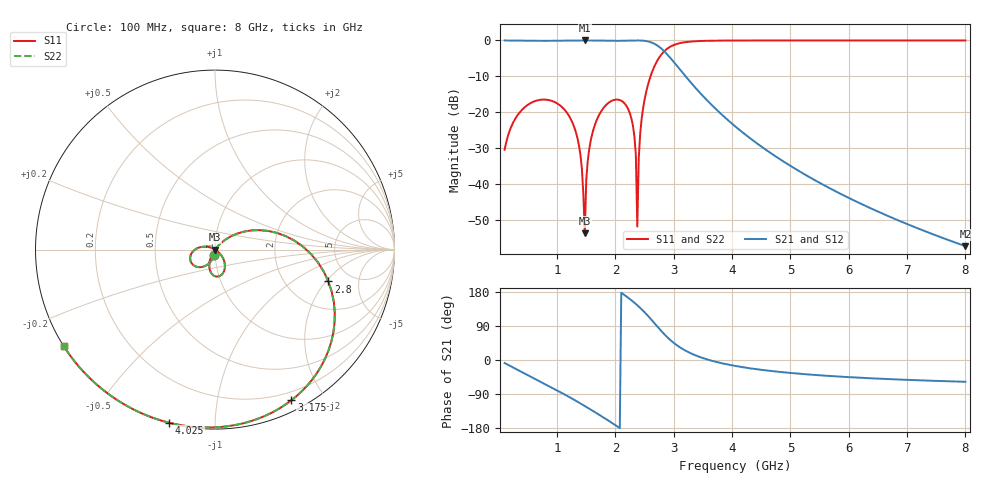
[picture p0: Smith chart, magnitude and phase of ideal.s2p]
! Created with skrf 1.13.0 (http://scikit-rf.org).
# Hz S RI R 50.0
!freq ReS11 ImS11 ReS21 ImS21 ReS12 ImS12 ReS22 ImS22
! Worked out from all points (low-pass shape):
!   317 points, 100 MHz to 8 GHz, reference 50 ohm
!   highest |S21| = 0.00 dB at 1.475 GHz (marker M1); lowest = -57.2 dB at 8 GHz (marker M2)
!   |S21| within 3 dB of the highest: start of sweep to 2.836 GHz
!   lowest |S11| = -53.6 dB at 1.475 GHz (marker M3), VSWR 1.00, Z = 50.2 - j0.109 ohm
!   |S11| at or under -10 dB: start of sweep to 2.601 GHz
!   |S22| runs from -53.6 to 0.0 dB; largest |S21 - S12| = 5.8e-16
!   S11 on the Smith chart (normalised r, x): 100 MHz: 0.99, -0.06; 2.8 GHz: 3.41, -2.13; 3.175 GHz: 0.11, -1.62; 4.025 GHz: 0.00, -0.77; 8 GHz: 0.00, -0.29
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1e8  -0.00424 -0.03  0.9897 -0.1397  0.9897 -0.1397  -0.00424 -0.03
3.75e8  -0.0519 -0.0899  0.8611 -0.4978  0.8611 -0.4978  -0.0519 -0.0899
8.75e8  -0.1385 -0.0506  0.3393 -0.929  0.3393 -0.929  -0.1385 -0.0506
1.25e9  -0.0746 0.015  -0.196 -0.9776  -0.196 -0.9776  -0.0746 0.015
1.425e9  -0.0148 0.00751  -0.4521 -0.8918  -0.4521 -0.8918  -0.0148 0.00751
1.475e9  0.00178 -0.00109  -0.5215 -0.8533  -0.5215 -0.8533  0.00178 -0.00109
1.5e9  0.00963 -0.00643  -0.5552 -0.8317  -0.5552 -0.8317  0.00963 -0.00643
1.6e9  0.0362 -0.0338  -0.6813 -0.7303  -0.6813 -0.7303  0.0362 -0.0338
2e9  0.0209 -0.149  -0.979 -0.1373  -0.979 -0.1373  0.0209 -0.149
2.3e9  -0.0283 -0.0588  -0.8994 0.4322  -0.8994 0.4322  -0.0283 -0.0588
2.35e9  -0.0137 -0.0219  -0.8464 0.532  -0.8464 0.532  -0.0137 -0.0219
2.375e9  -0.00151 -0.00211  -0.8138 0.5811  -0.8138 0.5811  -0.00151 -0.00211
2.4e9  0.0145 0.0179  -0.7768 0.6293  -0.7768 0.6293  0.0145 0.0179
2.45e9  0.0593 0.0566  -0.6887 0.7204  -0.6887 0.7204  0.0593 0.0566
2.75e9  0.5741 -0.0721  0.1016 0.8092  0.1016 0.8092  0.5741 -0.0721
2.8e9  0.6318 -0.1777  0.2043 0.7263  0.2043 0.7263  0.6318 -0.1777
3.175e9  0.426 -0.8392  0.3014 0.153  0.3014 0.153  0.426 -0.8392
4.025e9  -0.2554 -0.9645  0.0647 -0.0171  0.0647 -0.0171  -0.2554 -0.9645
4.05e9  -0.2672 -0.9615  0.062 -0.0172  0.062 -0.0172  -0.2672 -0.9615
5.375e9  -0.6285 -0.7777  0.00931 -0.00753  0.00931 -0.00753  -0.6285 -0.7777
6.7e9  -0.7717 -0.636  0.00226 -0.00275  0.00226 -0.00275  -0.7717 -0.636
8e9  -0.8436 -0.537  0.000744 -0.00117  0.000744 -0.00117  -0.8436 -0.537
